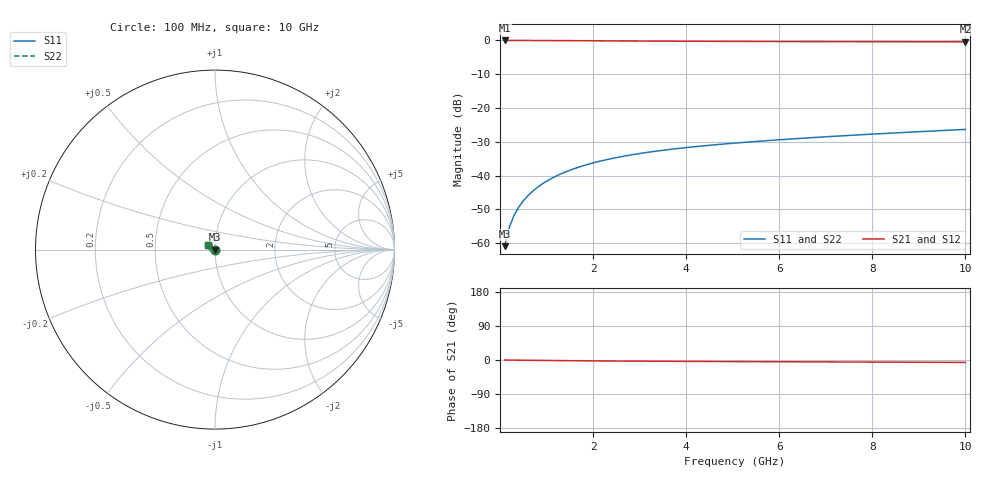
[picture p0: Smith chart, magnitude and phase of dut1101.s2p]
! Touchstone file exported from HFSS 2024.1.0
!  File:  C:/UserFiles/LocalFiles/RDL_TSV_Batchsim/temp_TSV1_1101_1780067180.aedt
!  Generated:  11:14:17 PM May 29, 2026
!  Design:  TSV1
!  Project:  temp_TSV1_1101_1780067180
!  Setup:  Setup1
!  Solution:  Sweep
! Variables:
!  dtsv = 6.89um
!  hbump = 3um
!  htsv = 96.35um
!  lrdl = 252.1521522um
!  p = 40
!  p1 = 55.93um
!  t = 500um
!  trdl = 3um
!  wrdl = 24.89489489um
# GHz S MA R 50.000000
! Terminal data exported
! Port[1] = TSV22_T1
! Port[2] = TSV22_T2
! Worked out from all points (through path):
!   100 points, 100 MHz to 10 GHz, reference 50 ohm
!   highest |S21| = 0.00 dB at 100 MHz (marker M1); lowest = -0.4 dB at 10 GHz (marker M2)
!   lowest |S11| = -60.9 dB at 100 MHz (marker M3), VSWR 1.00, Z = 50 - j0.0848 ohm
!   |S11| at or under -10 dB: start of sweep to end of sweep
!   |S22| runs from -60.9 to -26.3 dB; largest |S21 - S12| = 7.3e-15
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0.1  0.0009009 -70.1  0.9996 -0.1  0.9996 -0.1  0.0009009 -70.1
! Gamma 0 0 0 0
! Port Impedance 50 0 50 0
0.2  0.001717 -83.1  0.9995 -0.3  0.9995 -0.3  0.001717 -83.1
0.3  0.002549 -89.1  0.9993 -0.4  0.9993 -0.4  0.002549 -89.1
0.4  0.00338 -93.3  0.9991 -0.5  0.9991 -0.5  0.00338 -93.3
0.5  0.004209 -96.7  0.9988 -0.6  0.9988 -0.6  0.004209 -96.7
0.6  0.005031 -99.7  0.9984 -0.8  0.9984 -0.8  0.005031 -99.7
0.7  0.005846 -102.4  0.998 -0.9  0.998 -0.9  0.005846 -102.4
0.8  0.006653 -105.0  0.9975 -1.0  0.9975 -1.0  0.006653 -105.0
0.9  0.007449 -107.5  0.997 -1.1  0.997 -1.1  0.007449 -107.5
1.1  0.00901 -112.3  0.9958 -1.4  0.9958 -1.4  0.00901 -112.3
1.4  0.01126 -119.0  0.9938 -1.7  0.9938 -1.7  0.01126 -119.0
1.6  0.01269 -123.3  0.9922 -1.9  0.9922 -1.9  0.01269 -123.3
1.8  0.01406 -127.4  0.9906 -2.1  0.9906 -2.1  0.01406 -127.4
2.1  0.01602 -133.3  0.9881 -2.4  0.9881 -2.4  0.01602 -133.3
2.5  0.01843 -140.6  0.9848 -2.7  0.9848 -2.7  0.01843 -140.6
2.9  0.02065 -147.4  0.9816 -3.0  0.9816 -3.0  0.02065 -147.4
3.4  0.02317 -155.3  0.9778 -3.3  0.9778 -3.3  0.02317 -155.3
4.2  0.02679 -166.3  0.9724 -3.7  0.9724 -3.7  0.02679 -166.3
5.1  0.03045 -177.0  0.9676 -4.2  0.9676 -4.2  0.03045 -177.0
6.7  0.0364 167.7  0.9614 -4.9  0.9614 -4.9  0.0364 167.7
8.4  0.04247 155.2  0.957 -5.7  0.957 -5.7  0.04246 155.2
10  0.04816 145.8  0.954 -6.4  0.954 -6.4  0.04816 145.8
